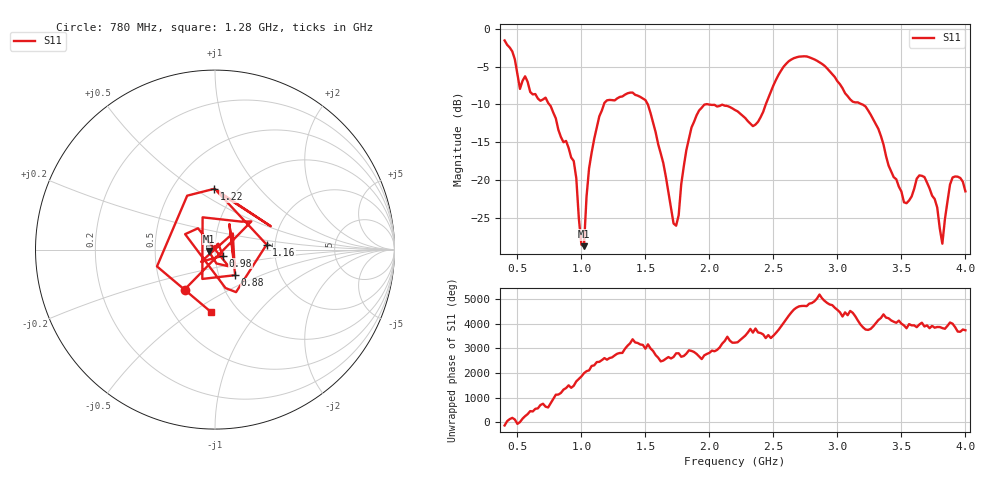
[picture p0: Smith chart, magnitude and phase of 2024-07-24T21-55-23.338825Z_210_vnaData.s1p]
!Created with skrf (http://scikit-rf.org).
# Hz S RI R 50.0
!freq ReS11 ImS11
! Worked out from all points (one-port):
!   181 points, 400 MHz to 4 GHz, reference 50 ohm
!   lowest |S11| = -28.7 dB at 1.02 GHz (marker M1), VSWR 1.08, Z = 46.5 - j0.694 ohm
!   |S11| at or under -10 dB: 1.519 GHz to 1.966 GHz (446.6 MHz wide, 25.6 % of centre); 1.995 GHz to 2.44 GHz (444.5 MHz wide, 20 % of centre); 3.195 GHz to end of sweep (the widest 3 of 4)
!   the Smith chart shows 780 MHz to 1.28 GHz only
!   S11 on the Smith chart (normalised r, x): 780 MHz: 0.65, -0.31; 880 MHz: 1.20, -0.35; 980 MHz: 1.09, -0.07; 1.16 GHz: 1.80, +0.11; 1.22 GHz: 0.79, +0.60; 1.28 GHz: 0.75, -0.59
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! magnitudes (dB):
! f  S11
! 400 MHz  -1.5
! 520 MHz  -7.9
! 780 MHz  -11.1
! 860 MHz  -15.0
! 880 MHz  -14.8
! 940 MHz  -17.5
! 980 MHz  -25.1
! 1.02 GHz  -28.7
! 1.06 GHz  -18.4
! 1.16 GHz  -10.8
! 1.22 GHz  -9.4
! 1.28 GHz  -9.2
! 1.3 GHz  -9.0
! 1.52 GHz  -10.0
! 1.72 GHz  -25.7
! 1.76 GHz  -24.6
! 1.82 GHz  -16.0
! 1.92 GHz  -10.8
! 2.2 GHz  -10.7
! 2.36 GHz  -12.7
! 2.66 GHz  -3.9
! 3.1 GHz  -9.3
! 3.26 GHz  -11.3
! 3.56 GHz  -22.7
! 3.68 GHz  -19.6
! 3.82 GHz  -28.4
! 3.9 GHz  -19.6
! 4 GHz  -21.5
